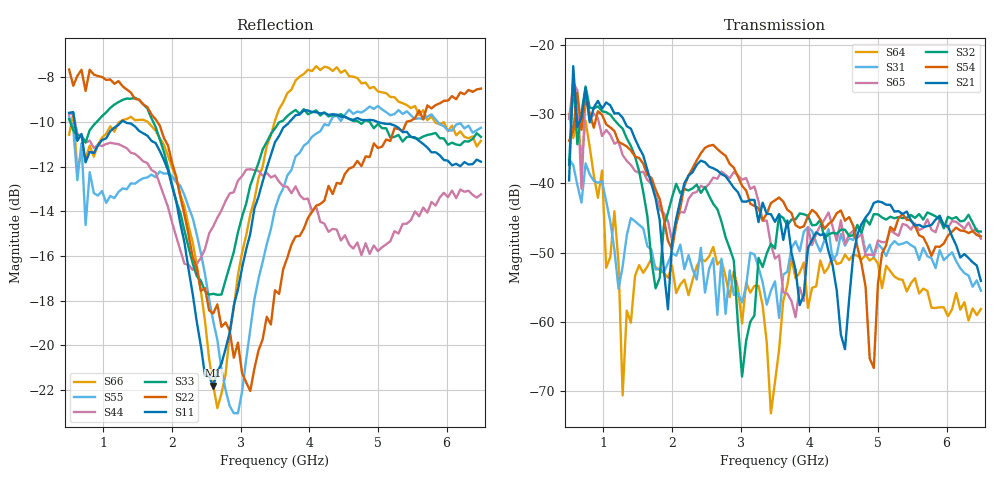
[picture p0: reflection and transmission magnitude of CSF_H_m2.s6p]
!Keysight Technologies,M9804A,MY58100912,A.14.10.03
!Date: Thursday, April 27, 2023 10:28:33
!Correction: S11(C  6-Port  )
!S12(C  6-Port  )
!S13(C  6-Port  )
!S14(C  6-Port  )
!S15(C  6-Port  )
!S16(C  6-Port  )
!S21(C  6-Port  )
!S22(C  6-Port  )
!S23(C  6-Port  )
!S24(C  6-Port  )
!S25(C  6-Port  )
!S26(C  6-Port  )
!S31(C  6-Port  )
!S32(C  6-Port  )
!S33(C  6-Port  )
!S34(C  6-Port  )
!S35(C  6-Port  )
!S36(C  6-Port  )
!S41(C  6-Port  )
!S42(C  6-Port  )
!S43(C  6-Port  )
!S44(C  6-Port  )
!S45(C  6-Port  )
!S46(C  6-Port  )
!S51(C  6-Port  )
!S52(C  6-Port  )
!S53(C  6-Port  )
!S54(C  6-Port  )
!S55(C  6-Port  )
!S56(C  6-Port  )
!S61(C  6-Port  )
!S62(C  6-Port  )
!S63(C  6-Port  )
!S64(C  6-Port  )
!S65(C  6-Port  )
!S66(C  6-Port  )
!S6P File: Measurement: :
# Hz S  RI  R 50
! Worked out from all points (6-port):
!   101 points, 500 MHz to 6.5 GHz, reference 50 ohm
!   strongest paths, dB at 500 MHz, 2 GHz, 3.5 GHz, 5 GHz, 6.5 GHz:
!     S21: -39.6, -48.4, -45.6, -42.6, -54.1
!     S54: -33.9, -49.5, -42.4, -54.5, -47.7
!     S32: -37.3, -42.0, -49.4, -44.5, -47.0
!     S65: -30.7, -48.3, -50.9, -48.2, -48.0
!     S31: -36.5, -50.0, -54.1, -48.8, -55.5
!     S64: -30.0, -51.9, -68.7, -51.6, -58.1
!   lowest |S11| = -21.8 dB at 2.6 GHz (marker M1), VSWR 1.18, Z = 42.7 + j1.93 ohm
!   |S11| at or under -10 dB: 580.4 MHz to 1.263 GHz (682.8 MHz wide, 74.1 % of centre); 1.309 GHz to 3.713 GHz (2.403 GHz wide, 95.7 % of centre); 4.99 GHz to end of sweep
